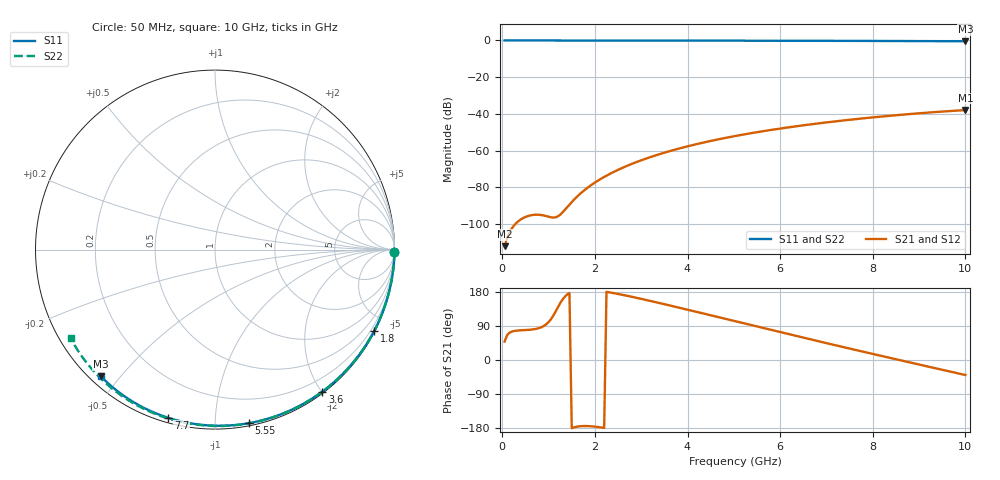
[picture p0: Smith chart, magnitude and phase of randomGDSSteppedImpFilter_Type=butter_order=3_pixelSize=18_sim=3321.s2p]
! freq	dB(S11)	phase(S11)	dB(S12)	phase(S12)
!  dB(S21)	phase(S21)	dB(S22)	phase(S22)
!S-par simulation data
#  GHz  S  DB  R 50
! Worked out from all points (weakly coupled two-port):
!   200 points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, 50 MHz to 10 GHz, reference 50 ohm
!   highest |S21| = -37.95 dB at 10 GHz (marker M1); lowest = -112.1 dB at 50 MHz (marker M2)
!   lowest |S11| = -0.4 dB at 10 GHz (marker M3), VSWR 39.10, Z = 1.53 - j22.2 ohm
!   |S11| at or under -10 dB: nowhere
!   |S22| runs from -0.5 to 0.0 dB; largest |S21 - S12| = 0
!   S11 on the Smith chart (normalised r, x): 50 MHz: open; 1.8 GHz: 0.04, -4.16; 3.6 GHz: 0.02, -2.01; 5.55 GHz: 0.02, -1.21; 7.7 GHz: 0.02, -0.76; 10 GHz: 0.03, -0.44
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0.05  -0.00 -0.8  -112.14 48.6  -112.14 48.6  -0.00 -0.9
0.45  -0.01 -6.9  -96.82 78.7  -96.82 78.7  -0.01 -7.7
0.9  -0.02 -13.7  -95.43 90.0  -95.43 90.0  -0.02 -15.4
1.75  -0.03 -26.3  -82.09 -174.3  -82.09 -174.3  -0.04 -29.6
1.8  -0.03 -27.1  -81.07 -174.3  -81.07 -174.3  -0.04 -30.4
1.85  -0.04 -27.8  -80.11 -174.4  -80.11 -174.4  -0.04 -31.3
2.05  -0.04 -30.7  -76.65 -176.5  -76.65 -176.5  -0.04 -34.6
2.2  -0.04 -32.9  -74.41 -179.1  -74.41 -179.1  -0.05 -37.0
2.4  -0.05 -35.8  -71.74 176.7  -71.74 176.7  -0.05 -40.3
2.6  -0.05 -38.7  -69.38 171.9  -69.38 171.9  -0.06 -43.5
3  -0.06 -44.5  -65.33 161.4  -65.33 161.4  -0.06 -49.9
3.4  -0.07 -50.1  -61.94 150.2  -61.94 150.2  -0.07 -56.2
3.6  -0.07 -52.9  -60.43 144.4  -60.43 144.4  -0.08 -59.3
4.3  -0.09 -62.5  -55.90 123.9  -55.90 123.9  -0.10 -70.0
5.05  -0.11 -72.5  -52.00 101.6  -52.00 101.6  -0.12 -81.2
5.55  -0.13 -79.0  -49.80 86.8  -49.80 86.8  -0.14 -88.4
6.1  -0.15 -86.0  -47.66 70.6  -47.66 70.6  -0.17 -96.1
6.7  -0.18 -93.5  -45.61 53.1  -45.61 53.1  -0.20 -104.4
7.7  -0.24 -105.5  -42.70 24.5  -42.70 24.5  -0.27 -118.0
8.35  -0.29 -113.1  -41.10 6.2  -41.10 6.2  -0.32 -126.6
9.2  -0.36 -122.9  -39.31 -17.5  -39.31 -17.5  -0.41 -137.8
10  -0.44 -132.0  -37.95 -39.6  -37.95 -39.6  -0.50 -148.5
